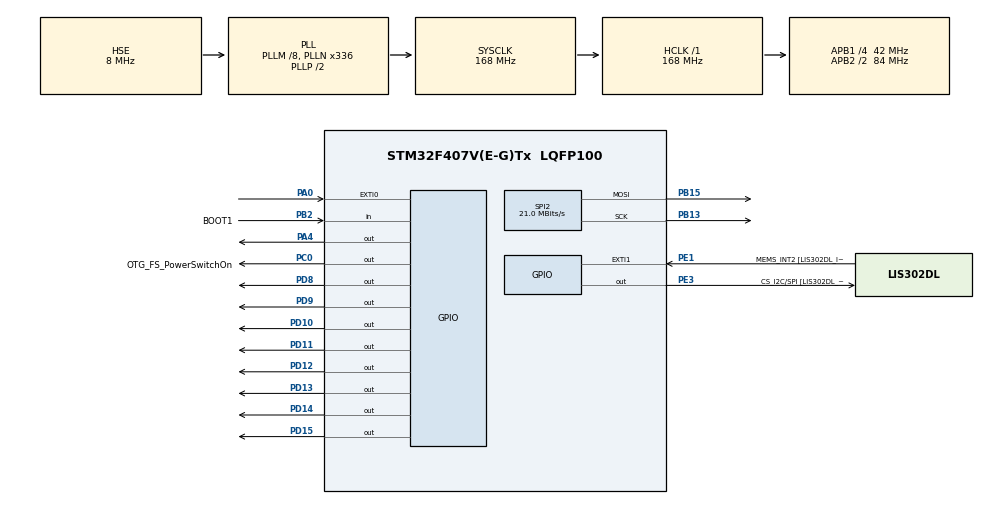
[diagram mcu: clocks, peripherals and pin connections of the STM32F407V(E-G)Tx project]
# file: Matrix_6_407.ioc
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Mcu.Family=STM32F4
Mcu.Name=STM32F407V(E-G)Tx
Mcu.Package=LQFP100
NVIC.EXTI0_IRQn=true\:1\:0\:true
NVIC.PriorityGroup=NVIC_PRIORITYGROUP_4
NVIC.TIM1_BRK_TIM9_IRQn=true\:1\:0\:true
NVIC.TIM1_TRG_COM_TIM11_IRQn=true\:2\:0\:true
NVIC.TIM1_UP_TIM10_IRQn=true\:3\:0\:true
PA0-WKUP.GPIO_ModeDefaultEXTI=GPIO_MODE_IT_RISING
PA0-WKUP.GPIO_PuPd=GPIO_NOPULL
PA0-WKUP.Signal=GPXTI0
PA10.GPIO_Label=OTG_FS_ID
PA10.GPIO_Mode=GPIO_MODE_AF_PP
PA10.GPIO_PuPd=GPIO_NOPULL
PA10.GPIO_Speed=GPIO_SPEED_LOW
PA10.Signal=USB_OTG_FS_ID
PA11.GPIO_Label=OTG_FS_DM
PA11.GPIO_Mode=GPIO_MODE_AF_PP
PA11.GPIO_PuPd=GPIO_NOPULL
PA11.GPIO_Speed=GPIO_SPEED_LOW
PA11.Signal=USB_OTG_FS_DM
PA12.GPIO_Label=OTG_FS_DP
PA12.GPIO_Mode=GPIO_MODE_AF_PP
PA12.GPIO_PuPd=GPIO_NOPULL
PA12.GPIO_Speed=GPIO_SPEED_LOW
PA12.Signal=USB_OTG_FS_DP
PA13.GPIO_Label=SWDIO
PA13.Mode=Trace-Asynchronous_SW
PA13.Signal=SYS_JTMS-SWDIO
PA14.GPIO_Label=SWCLK
PA14.Mode=Trace-Asynchronous_SW
PA14.Signal=SYS_JTCK-SWCLK
PA4.Signal=GPIO_Output
PA6.Signal=SPI1_MISO
PA7.Signal=SPI1_MOSI
PA9.GPIO_Label=VBUS_FS
PA9.GPIO_Mode=GPIO_MODE_INPUT
PA9.GPIO_PuPd=GPIO_NOPULL
PA9.Signal=USB_OTG_FS_VBUS
PB10.GPIO_Label=CLK_IN [MP45DT02_CLK]
PB10.GPIO_Mode=GPIO_MODE_AF_PP
PB10.GPIO_PuPd=GPIO_NOPULL
PB10.GPIO_Speed=GPIO_SPEED_LOW
PB10.Signal=I2S2_CK
PB13.Mode=TX_Only_Simplex_Unidirect_Master
PB13.Signal=SPI2_SCK
PB15.Mode=TX_Only_Simplex_Unidirect_Master
PB15.Signal=SPI2_MOSI
PB2.GPIO_Label=BOOT1
PB2.GPIO_Mode=GPIO_MODE_INPUT
PB2.GPIO_PuPd=GPIO_NOPULL
PB2.Signal=GPIO_Input
PB3.GPIO_Label=SWO
PB3.Mode=Trace-Asynchronous_SW
PB3.Signal=SYS_JTDO-SWO
PB6.GPIO_Label=Audio_SCL [CS43L22_SCL]
PB6.GPIO_Mode=GPIO_MODE_AF_OD
PB6.GPIO_PuPd=GPIO_NOPULL
PB6.GPIO_PuPdOD=GPIO_PULLUP
PB6.GPIO_Speed=GPIO_SPEED_LOW
PB6.Signal=I2C1_SCL
PB9.GPIO_Label=Audio_SDA [CS43L22_SDA]
PB9.GPIO_Mode=GPIO_MODE_AF_OD
PB9.GPIO_PuPd=GPIO_NOPULL
PB9.GPIO_PuPdOD=GPIO_PULLUP
PB9.GPIO_Speed=GPIO_SPEED_LOW
PB9.Signal=I2C1_SDA
PC0.GPIO_Label=OTG_FS_PowerSwitchOn
PC0.GPIO_ModeDefaultOutputPP=GPIO_MODE_OUTPUT_PP
PC0.GPIO_PuPd=GPIO_NOPULL
PC0.GPIO_Speed=GPIO_SPEED_LOW
PC0.Signal=GPIO_Output
PC10.GPIO_Label=I2S3_SCK [CS43L22_SCLK]
PC10.GPIO_Mode=GPIO_MODE_AF_PP
PC10.GPIO_PuPd=GPIO_NOPULL
PC10.GPIO_Speed=GPIO_SPEED_LOW
PC10.Signal=I2S3_CK
PC12.GPIO_Label=I2S3_SD [CS43L22_SDIN]
PC12.GPIO_Mode=GPIO_MODE_AF_PP
PC12.GPIO_PuPd=GPIO_NOPULL
PC12.GPIO_Speed=GPIO_SPEED_LOW
PC12.Signal=I2S3_SD
PC14-OSC32_IN.GPIO_Label=PC14-OSC32_IN
PC14-OSC32_IN.Signal=RCC_OSC32_IN
PC15-OSC32_OUT.GPIO_Label=PC15-OSC32_OUT
PC15-OSC32_OUT.Signal=RCC_OSC32_OUT
PC3.GPIO_Label=PDM_OUT [MP45DT02_DOUT]
PC3.GPIO_Mode=GPIO_MODE_AF_PP
PC3.GPIO_PuPd=GPIO_NOPULL
PC3.GPIO_Speed=GPIO_SPEED_LOW
PC3.Signal=I2S2_SD
PC7.GPIO_Label=I2S3_MCK [CS43L22_MCLK]
PC7.GPIO_Mode=GPIO_MODE_AF_PP
PC7.GPIO_PuPd=GPIO_NOPULL
PC7.GPIO_Speed=GPIO_SPEED_LOW
PC7.Signal=I2S3_MCK
PD10.Signal=GPIO_Output
PD11.Signal=GPIO_Output
PD12.Signal=GPIO_Output
PD13.Signal=GPIO_Output
PD14.Signal=GPIO_Output
PD15.Signal=GPIO_Output
PD8.Signal=GPIO_Output
PD9.Signal=GPIO_Output
PE1.GPIO_Label=MEMS_INT2 [LIS302DL_INT2]
PE1.GPIO_ModeDefaultEXTI=GPIO_MODE_EVT_RISING
PE1.GPIO_PuPd=GPIO_NOPULL
PE1.Signal=GPXTI1
PE3.GPIO_Label=CS_I2C/SPI [LIS302DL_CS_I2C/SPI]
PE3.GPIO_ModeDefaultOutputPP=GPIO_MODE_OUTPUT_PP
PE3.GPIO_PuPd=GPIO_NOPULL
PE3.GPIO_Speed=GPIO_SPEED_LOW
PE3.Signal=GPIO_Output
PH0-OSC_IN.GPIO_Label=PH0-OSC_IN
PH0-OSC_IN.Mode=HSE-External-Oscillator
PH0-OSC_IN.Signal=RCC_OSC_IN
PH1-OSC_OUT.GPIO_Label=PH1-OSC_OUT
PH1-OSC_OUT.Mode=HSE-External-Oscillator
PH1-OSC_OUT.Signal=RCC_OSC_OUT
ProjectManager.TargetToolchain=EWARM 6.70
RCC.48MHZClocksFreq_Value=48000000
RCC.AHBFreq_Value=168000000
RCC.APB1CLKDivider=RCC_HCLK_DIV4
RCC.APB1Freq_Value=42000000
RCC.APB1TimFreq_Value=84000000
RCC.APB2CLKDivider=RCC_HCLK_DIV2
RCC.APB2Freq_Value=84000000
RCC.APB2TimFreq_Value=168000000
RCC.CortexFreq_Value=21000000
RCC.HCLKFreq_Value=168000000
RCC.HSE_VALUE=8000000
RCC.HSI_VALUE=16000000
RCC.LSE_VALUE=32768
RCC.PLLM=8
RCC.PLLN=336
RCC.PLLQ=7
RCC.PLLSource=RCC_PLLSOURCE_HSE
RCC.PLLSourceVirtual=RCC_PLLSOURCE_HSE
RCC.PLLSourceVirtualString=RCC_PLLSOURCE_HSE
RCC.SYSCLKFreq_VALUE=168000000
RCC.SYSCLKSource=RCC_SYSCLKSOURCE_PLLCLK
RCC.VCOOutputFreq_Value=336000000
SPI2.CalculateBaudRate=21.0 MBits/s
SPI2.Mode=SPI_MODE_MASTER
TIM10.Period=17500
TIM10.Prescaler=2
TIM11.Period=60000
TIM11.Prescaler=200
TIM9.Period=20000
TIM9.Prescaler=16800
VP_TIM10_VS_ClockSourceINT.Mode=Enable_Timer
VP_TIM11_VS_ClockSourceINT.Mode=Enable_Timer
VP_TIM9_VS_ClockSourceINT.Mode=Internal

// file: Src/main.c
/**
  ******************************************************************************
  * File Name          : main.c
  * Date               : 25/03/2015 07:48:25
  * Description        : Main program body
  ******************************************************************************
  *
  * COPYRIGHT(c) 2015 STMicroelectronics
  *
  * Redistribution and use in source and binary forms, with or without modification,
  * are permitted provided that the following conditions are met:
  *   1. Redistributions of source code must retain the above copyright notice,
  *      this list of conditions and the following disclaimer.
  *   2. Redistributions in binary form must reproduce the above copyright notice,
  *      this list of conditions and the following disclaimer in the documentation
  *      and/or other materials provided with the distribution.
  *   3. Neither the name of STMicroelectronics nor the names of its contributors
  *      may be used to endorse or promote products derived from this software
  *      without specific prior written permission.
  *
  * THIS SOFTWARE IS PROVIDED BY THE COPYRIGHT HOLDERS AND CONTRIBUTORS "AS IS"
  * AND ANY EXPRESS OR IMPLIED WARRANTIES, INCLUDING, BUT NOT LIMITED TO, THE
  * IMPLIED WARRANTIES OF MERCHANTABILITY AND FITNESS FOR A PARTICULAR PURPOSE ARE
  * DISCLAIMED. IN NO EVENT SHALL THE COPYRIGHT HOLDER OR CONTRIBUTORS BE LIABLE
  * FOR ANY DIRECT, INDIRECT, INCIDENTAL, SPECIAL, EXEMPLARY, OR CONSEQUENTIAL
  * DAMAGES (INCLUDING, BUT NOT LIMITED TO, PROCUREMENT OF SUBSTITUTE GOODS OR
  * SERVICES; LOSS OF USE, DATA, OR PROFITS; OR BUSINESS INTERRUPTION) HOWEVER
  * CAUSED AND ON ANY THEORY OF LIABILITY, WHETHER IN CONTRACT, STRICT LIABILITY,
  * OR TORT (INCLUDING NEGLIGENCE OR OTHERWISE) ARISING IN ANY WAY OUT OF THE USE
  * OF THIS SOFTWARE, EVEN IF ADVISED OF THE POSSIBILITY OF SUCH DAMAGE.
  *
  ******************************************************************************
  */

#include "stm32f4xx_hal.h"

/* USER CODE BEGIN Includes */
#include "CHARS.h"
/* USER CODE END Includes */

SPI_HandleTypeDef hspi2;
TIM_HandleTypeDef htim9;
TIM_HandleTypeDef htim10;
TIM_HandleTypeDef htim11;

/* USER CODE BEGIN PV */
typedef enum {          //Обьеденение состояний Автомата Состояния
  FIRST_INIT,           //Стартовый флаг
  NEXT_LINE,            //состояние змения линии, флаг для семены отобрадения лини
  NEXT_DOT,             //Состояние изменения матрицы вывода (исп для динамического отрисовки буквы)
  CHANGE_LETTER,        //Состояние для изменения буквы в промежуточном буфере матрицы
  CHANGE_COLOUR         //Состояние изменения цвета
} state_t;

state_t state = FIRST_INIT; //Переменная состояния

typedef enum {          //Обьеденение состояния светодиода
  ON,                   //Включен
  OFF                   //Выключен
} dot_t;

typedef enum {          //Обьеденение Цветa
  GREEN,                //Зеленый
  RED,                  //Красный
  BLUE,                 //Синий
  YELLOW,               //Желтый (зеленый + красный)
  MAGENTA,              //Розовый (синий + красный)
  CYAN,                 //Голубой (зеленый + синий)
  WHITE                 //Белый (Синий + зеленый + красный)
} colour_t;

struct dot{             //Структура светодиода(точки)
  char x;               //Положение по горизонтале в матрице
  char y;               //Положение по вертикале в матрице
  dot_t dot_state;      //Состояние светодиода
  colour_t colour;      //Цвет светодиода
 };

uint64_t data_An = 1;
char data_Gr[8];
char data_Rd[8];
char data_Bl[8];
char char_Play[30][2];
uint8_t pData[24];
char bufferData [8][4];

/* USER CODE END PV */

void SystemClock_Config(void);
static void MX_GPIO_Init(void);
static void MX_SPI2_Init(void);
static void MX_TIM9_Init(void);
static void MX_TIM10_Init(void);
static void MX_TIM11_Init(void);

/* USER CODE BEGIN PFP */

/*Инициализация функции формирования посылки*/
void create_pData(int cntLn)
{
  pData[0] = (uint8_t)~(data_An >> 40);
  pData[1] = bufferData[cntLn][1];
  pData[2] = bufferData[cntLn][2];
  pData[3] = bufferData[cntLn][3];
  pData[4] = (uint8_t)~(data_An >> 32);
  pData[5] = bufferData[cntLn][1];
  pData[6] = bufferData[cntLn][2];
  pData[7] = bufferData[cntLn][3];
  pData[8] = (uint8_t)~(data_An >> 24);
  pData[9] = bufferData[cntLn][1];
  pData[10] = bufferData[cntLn][2];
  pData[11] = bufferData[cntLn][3];
  pData[12] = (uint8_t)~(data_An >> 16);
  pData[13] = bufferData[cntLn][1];
  pData[14] = bufferData[cntLn][2];
  pData[15] = bufferData[cntLn][3];
  pData[16] = (uint8_t)~(data_An >> 8);
  pData[17] = bufferData[cntLn][1];
  pData[18] = bufferData[cntLn][2];
  pData[19] = bufferData[cntLn][3];
  pData[20] = (uint8_t)~(data_An);
  pData[21] = bufferData[cntLn][1];
  pData[22] = bufferData[cntLn][2];
  pData[23] = bufferData[cntLn][3];
}

/*Инициализация функции формирования масива изображения*/
void create_bufferData(char cnt_An)
{
  if (cnt_An == 0)
  {
    data_An = data_An;
  }
  else
    data_An *= 2;
  for (int j=0; j <=7 ; j++)
  {
    bufferData[j][1] = data_Gr[j];
    bufferData[j][2] = data_Rd[j];
    bufferData[j][3] = data_Bl[j];
  }
 }

/*Инициализация функции отправки данных*/
void send_Data(int cntLn, char cnt_An)
{
   HAL_GPIO_WritePin(GPIOD, GPIO_PIN_8,GPIO_PIN_SET);
  create_bufferData(cnt_An);
  create_pData(cntLn);
  HAL_GPIO_WritePin(GPIOD, GPIO_PIN_8,GPIO_PIN_RESET);
  HAL_SPI_Transmit(&hspi2, pData, 24, 1);
  HAL_GPIO_WritePin(GPIOD, GPIO_PIN_9,GPIO_PIN_SET);
  HAL_GPIO_WritePin(GPIOD, GPIO_PIN_9,GPIO_PIN_RESET);

 }

/*Инициализация функции очистки изображения*/
void zero_matrix(void)
{
  for (int i=0; i<=7; i++)
  {
  data_Gr[i] = 0xFF;
  data_Rd[i] = 0xFF;
  data_Bl[i] = 0xFF;
  }
}

/*Инициализация функци отрисовки буквы нужного цвета*/
void writte_Char(int colour, int cntCh)
{
switch(colour)
    {
    case GREEN:
      {
        data_Gr[char_Play[cntCh+1][0]] = char_Play[cntCh+1][1];
        break;
      }
    case RED:
      {
        data_Rd[char_Play[cntCh+1][0]] = char_Play[cntCh+1][1];
        break;
      }
    case BLUE:
      {
        data_Bl[char_Play[cntCh+1][0]] = char_Play[cntCh+1][1];
        break;
      }
    case YELLOW:
      {
        data_Gr[char_Play[cntCh+1][0]] = char_Play[cntCh+1][1];
        data_Rd[char_Play[cntCh+1][0]] = char_Play[cntCh+1][1];
        break;
      }
    case MAGENTA:
      {
        data_Rd[char_Play[cntCh+1][0]] = char_Play[cntCh+1][1];
        data_Bl[char_Play[cntCh+1][0]] = char_Play[cntCh+1][1];
        break;
      }
    case CYAN:
      {
        data_Gr[char_Play[cntCh+1][0]] = char_Play[cntCh+1][1];
        data_Bl[char_Play[cntCh+1][0]] = char_Play[cntCh+1][1];
        break;
      }
    case WHITE:
      {
        data_Gr[char_Play[cntCh+1][0]] = char_Play[cntCh+1][1];
        data_Bl[char_Play[cntCh+1][0]] = char_Play[cntCh+1][1];
        data_Rd[char_Play[cntCh+1][0]] = char_Play[cntCh+1][1];
        break;
      }
    default:
      zero_matrix();
    }
  }

/*Инициализация функции присвоения масиву вывода выбранной буквы*/
void set_Char (char *letter, int i, int j)
{
  for (int k = 0; k < j; k++)
  {
    for (int z = 0; z < i; z++)
    {
      char_Play[k][z] = letter[(i*k)+z];
    }
  }
}

/*????Инициализация функции изменения цвета*/
/*void changecolour(int cntC)
{
  switch(cntC)
  {
  case 0:
    {
      setcolour = GREEN;
      break;
    }
  case 1:
    {
      setcolour = RED;
      break;
    }
  case 2:
    {
      setcolour = BLUE;
      break;
    }
  case 3:
    {
      setcolour = YELLOW;
      break;
    }
  case 4:
    {
      setcolour = MAGENTA;
      break;
    }
  case 5:
    {
      setcolour = CYAN;
      break;
    }
  case 6:
    {
      setcolour = WHITE;
      break;
    }
  default:
    __NOP();
  }
}*/
/* USER CODE END PFP */

int main(void)
{

  /* MCU Configuration----------------------------------------------------------*/

  /* Reset of all peripherals, Initializes the Flash interface and the Systick. */
  HAL_Init();

  /* Configure the system clock */
  SystemClock_Config();

  /* Initialize all configured peripherals */
  MX_GPIO_Init();
  MX_SPI2_Init();
  MX_TIM9_Init();
  MX_TIM10_Init();
  MX_TIM11_Init();

  /* USER CODE BEGIN 2 */
  HAL_TIM_Base_Start_IT(&htim9);
  HAL_TIM_Base_Start_IT(&htim10);
  HAL_TIM_Base_Start_IT(&htim11);
  /* USER CODE END 2 */

  while (1)
  {
  }

}

/** System Clock Configuration
*/
void SystemClock_Config(void)
{

  RCC_OscInitTypeDef RCC_OscInitStruct;
  RCC_ClkInitTypeDef RCC_ClkInitStruct;

  __PWR_CLK_ENABLE();

  __HAL_PWR_VOLTAGESCALING_CONFIG(PWR_REGULATOR_VOLTAGE_SCALE1);

  RCC_OscInitStruct.OscillatorType = RCC_OSCILLATORTYPE_HSE;
  RCC_OscInitStruct.HSEState = RCC_HSE_ON;
  RCC_OscInitStruct.PLL.PLLState = RCC_PLL_ON;
  RCC_OscInitStruct.PLL.PLLSource = RCC_PLLSOURCE_HSE;
  RCC_OscInitStruct.PLL.PLLM = 8;
  RCC_OscInitStruct.PLL.PLLN = 336;
  RCC_OscInitStruct.PLL.PLLP = RCC_PLLP_DIV2;
  RCC_OscInitStruct.PLL.PLLQ = 7;
  HAL_RCC_OscConfig(&RCC_OscInitStruct);

  RCC_ClkInitStruct.ClockType = RCC_CLOCKTYPE_SYSCLK|RCC_CLOCKTYPE_PCLK1
                              |RCC_CLOCKTYPE_PCLK2;
  RCC_ClkInitStruct.SYSCLKSource = RCC_SYSCLKSOURCE_PLLCLK;
  RCC_ClkInitStruct.AHBCLKDivider = RCC_SYSCLK_DIV1;
  RCC_ClkInitStruct.APB1CLKDivider = RCC_HCLK_DIV4;
  RCC_ClkInitStruct.APB2CLKDivider = RCC_HCLK_DIV2;
  HAL_RCC_ClockConfig(&RCC_ClkInitStruct, FLASH_LATENCY_5);

}

/* SPI2 init function */
void MX_SPI2_Init(void)
{

  hspi2.Instance = SPI2;
  hspi2.Init.Mode = SPI_MODE_MASTER;
  hspi2.Init.Direction = SPI_DIRECTION_2LINES;
  hspi2.Init.DataSize = SPI_DATASIZE_8BIT;
  hspi2.Init.CLKPolarity = SPI_POLARITY_LOW;
  hspi2.Init.CLKPhase = SPI_PHASE_1EDGE;
  hspi2.Init.NSS = SPI_NSS_SOFT;
  hspi2.Init.BaudRatePrescaler = SPI_BAUDRATEPRESCALER_4;
  hspi2.Init.FirstBit = SPI_FIRSTBIT_LSB;
  hspi2.Init.TIMode = SPI_TIMODE_DISABLED;
  hspi2.Init.CRCCalculation = SPI_CRCCALCULATION_DISABLED;
  HAL_SPI_Init(&hspi2);

}

/* TIM9 init function */
void MX_TIM9_Init(void)
{

  TIM_ClockConfigTypeDef sClockSourceConfig;

  htim9.Instance = TIM9;
  htim9.Init.Prescaler = 16800;
  htim9.Init.CounterMode = TIM_COUNTERMODE_UP;
  htim9.Init.Period = 20000;
  htim9.Init.ClockDivision = TIM_CLOCKDIVISION_DIV1;
  HAL_TIM_Base_Init(&htim9);

  sClockSourceConfig.ClockSource = TIM_CLOCKSOURCE_INTERNAL;
  HAL_TIM_ConfigClockSource(&htim9, &sClockSourceConfig);

}

/* TIM10 init function */
void MX_TIM10_Init(void)
{

  htim10.Instance = TIM10;
  htim10.Init.Prescaler = 2;
  htim10.Init.CounterMode = TIM_COUNTERMODE_UP;
  htim10.Init.Period = 17500;
  htim10.Init.ClockDivision = TIM_CLOCKDIVISION_DIV1;
  HAL_TIM_Base_Init(&htim10);

}

/* TIM11 init function */
void MX_TIM11_Init(void)
{

  htim11.Instance = TIM11;
  htim11.Init.Prescaler = 200;
  htim11.Init.CounterMode = TIM_COUNTERMODE_UP;
  htim11.Init.Period = 60000;
  htim11.Init.ClockDivision = TIM_CLOCKDIVISION_DIV1;
  HAL_TIM_Base_Init(&htim11);

}

/** Configure pins as
        * Analog
        * Input
        * Output
        * EVENT_OUT
        * EXTI
     PC3   ------> I2S2_SD
     PA6   ------> SPI1_MISO
     PA7   ------> SPI1_MOSI
     PB10   ------> I2S2_CK
     PC7   ------> I2S3_MCK
     PA9   ------> USB_OTG_FS_VBUS
     PA10   ------> USB_OTG_FS_ID
     PA11   ------> USB_OTG_FS_DM
     PA12   ------> USB_OTG_FS_DP
     PC10   ------> I2S3_CK
     PC12   ------> I2S3_SD
     PB6   ------> I2C1_SCL
     PB9   ------> I2C1_SDA
*/
void MX_GPIO_Init(void)
{

  GPIO_InitTypeDef GPIO_InitStruct;

  /* GPIO Ports Clock Enable */
  __GPIOE_CLK_ENABLE();
  __GPIOC_CLK_ENABLE();
  __GPIOH_CLK_ENABLE();
  __GPIOA_CLK_ENABLE();
  __GPIOB_CLK_ENABLE();
  __GPIOD_CLK_ENABLE();

  /*Configure GPIO pin : PE3 */
  GPIO_InitStruct.Pin = GPIO_PIN_3;
  GPIO_InitStruct.Mode = GPIO_MODE_OUTPUT_PP;
  GPIO_InitStruct.Pull = GPIO_NOPULL;
  GPIO_InitStruct.Speed = GPIO_SPEED_LOW;
  HAL_GPIO_Init(GPIOE, &GPIO_InitStruct);

  /*Configure GPIO pin : PC0 */
  GPIO_InitStruct.Pin = GPIO_PIN_0;
  GPIO_InitStruct.Mode = GPIO_MODE_OUTPUT_PP;
  GPIO_InitStruct.Pull = GPIO_NOPULL;
  GPIO_InitStruct.Speed = GPIO_SPEED_LOW;
  HAL_GPIO_Init(GPIOC, &GPIO_InitStruct);

  /*Configure GPIO pin : PC3 */
  GPIO_InitStruct.Pin = GPIO_PIN_3;
  GPIO_InitStruct.Mode = GPIO_MODE_AF_PP;
  GPIO_InitStruct.Pull = GPIO_NOPULL;
  GPIO_InitStruct.Speed = GPIO_SPEED_LOW;
  GPIO_InitStruct.Alternate = GPIO_AF5_SPI2;
  HAL_GPIO_Init(GPIOC, &GPIO_InitStruct);

  /*Configure GPIO pin : PA0 */
  GPIO_InitStruct.Pin = GPIO_PIN_0;
  GPIO_InitStruct.Mode = GPIO_MODE_IT_RISING;
  GPIO_InitStruct.Pull = GPIO_NOPULL;
  HAL_GPIO_Init(GPIOA, &GPIO_InitStruct);

  /*Configure GPIO pin : PA4 */
  GPIO_InitStruct.Pin = GPIO_PIN_4;
  GPIO_InitStruct.Mode = GPIO_MODE_OUTPUT_PP;
  GPIO_InitStruct.Pull = GPIO_NOPULL;
  GPIO_InitStruct.Speed = GPIO_SPEED_LOW;
  HAL_GPIO_Init(GPIOA, &GPIO_InitStruct);

  /*Configure GPIO pins : PA6 PA7 */
  GPIO_InitStruct.Pin = GPIO_PIN_6|GPIO_PIN_7;
  GPIO_InitStruct.Mode = GPIO_MODE_AF_PP;
  GPIO_InitStruct.Pull = GPIO_NOPULL;
  GPIO_InitStruct.Speed = GPIO_SPEED_LOW;
  GPIO_InitStruct.Alternate = GPIO_AF5_SPI1;
  HAL_GPIO_Init(GPIOA, &GPIO_InitStruct);

  /*Configure GPIO pin : PB2 */
  GPIO_InitStruct.Pin = GPIO_PIN_2;
  GPIO_InitStruct.Mode = GPIO_MODE_INPUT;
  GPIO_InitStruct.Pull = GPIO_NOPULL;
  HAL_GPIO_Init(GPIOB, &GPIO_InitStruct);

  /*Configure GPIO pin : PB10 */
  GPIO_InitStruct.Pin = GPIO_PIN_10;
  GPIO_InitStruct.Mode = GPIO_MODE_AF_PP;
  GPIO_InitStruct.Pull = GPIO_NOPULL;
  GPIO_InitStruct.Speed = GPIO_SPEED_LOW;
  GPIO_InitStruct.Alternate = GPIO_AF5_SPI2;
  HAL_GPIO_Init(GPIOB, &GPIO_InitStruct);

  /*Configure GPIO pins : PD8 PD9 PD10 PD11
                           PD12 PD13 PD14 PD15 */
  GPIO_InitStruct.Pin = GPIO_PIN_8|GPIO_PIN_9|GPIO_PIN_10|GPIO_PIN_11
                          |GPIO_PIN_12|GPIO_PIN_13|GPIO_PIN_14|GPIO_PIN_15;
  GPIO_InitStruct.Mode = GPIO_MODE_OUTPUT_PP;
  GPIO_InitStruct.Pull = GPIO_NOPULL;
  GPIO_InitStruct.Speed = GPIO_SPEED_LOW;
  HAL_GPIO_Init(GPIOD, &GPIO_InitStruct);

  /*Configure GPIO pins : PC7 PC10 PC12 */
  GPIO_InitStruct.Pin = GPIO_PIN_7|GPIO_PIN_10|GPIO_PIN_12;
  GPIO_InitStruct.Mode = GPIO_MODE_AF_PP;
  GPIO_InitStruct.Pull = GPIO_NOPULL;
  GPIO_InitStruct.Speed = GPIO_SPEED_LOW;
  GPIO_InitStruct.Alternate = GPIO_AF6_SPI3;
  HAL_GPIO_Init(GPIOC, &GPIO_InitStruct);

  /*Configure GPIO pin : PA9 */
  GPIO_InitStruct.Pin = GPIO_PIN_9;
  GPIO_InitStruct.Mode = GPIO_MODE_INPUT;
  GPIO_InitStruct.Pull = GPIO_NOPULL;
  HAL_GPIO_Init(GPIOA, &GPIO_InitStruct);

  /*Configure GPIO pins : PA10 PA11 PA12 */
  GPIO_InitStruct.Pin = GPIO_PIN_10|GPIO_PIN_11|GPIO_PIN_12;
  GPIO_InitStruct.Mode = GPIO_MODE_AF_PP;
  GPIO_InitStruct.Pull = GPIO_NOPULL;
  GPIO_InitStruct.Speed = GPIO_SPEED_LOW;
  GPIO_InitStruct.Alternate = GPIO_AF10_OTG_FS;
  HAL_GPIO_Init(GPIOA, &GPIO_InitStruct);

  /*Configure GPIO pins : PB6 PB9 */
  GPIO_InitStruct.Pin = GPIO_PIN_6|GPIO_PIN_9;
  GPIO_InitStruct.Mode = GPIO_MODE_AF_OD;
  GPIO_InitStruct.Pull = GPIO_PULLUP;
  GPIO_InitStruct.Speed = GPIO_SPEED_LOW;
  GPIO_InitStruct.Alternate = GPIO_AF4_I2C1;
  HAL_GPIO_Init(GPIOB, &GPIO_InitStruct);

  /*Configure GPIO pin : PE1 */
  GPIO_InitStruct.Pin = GPIO_PIN_1;
  GPIO_InitStruct.Mode = GPIO_MODE_EVT_RISING;
  GPIO_InitStruct.Pull = GPIO_NOPULL;
  HAL_GPIO_Init(GPIOE, &GPIO_InitStruct);

  /* EXTI interrupt init*/
  HAL_NVIC_SetPriority(EXTI0_IRQn, 1, 0);
  HAL_NVIC_EnableIRQ(EXTI0_IRQn);

}

/* USER CODE BEGIN 4 */
int counterChanges = 0;
int countLine = 7;
int counterLetters = 0;
int setcolour = 0;
int counter_An = 0;

void HAL_TIM_PeriodElapsedCallback(TIM_HandleTypeDef *htim)
{
  if (htim == &htim10)
  {
    if (countLine < 0)
    {
      countLine=7;
    }
    if (counter_An > 47)
    {
    counter_An = 0;
    data_An = 1;
    }
    send_Data(countLine, counter_An);
    countLine--;
    counter_An ++;
  }
  else if (htim == &htim11)
  {
    /*char *y = lEtters[counterLetters-1];*/
    if (setcolour >= 7)
  {
    setcolour = 0;
  }
    if(counterChanges > (((char_Play[0][1])-1)+24))
    {
        zero_matrix();
        counterChanges = 0;
    }
    if (counterChanges < ((char_Play[0][1])-1))
    {
      writte_Char(setcolour, counterChanges);
    }
      counterChanges++;
  }
  else if (htim == &htim9)
  {
    if (counterLetters == 26) /*26 - количесвто елементов в масиве букв*/
    {
      counterLetters = 0;
    }
    char *p = lEtters[counterLetters];
    set_Char(p, (int)p[0], (int)p[1]);
    zero_matrix();
    setcolour++;
    counterChanges = 0;
    counterLetters++;

  }
}

void HAL_GPIO_EXTI_Callback(uint16_t GPIO_Pin0)
{

}

/* USER CODE END 4 */

/************************ (C) COPYRIGHT STMicroelectronics *****END OF FILE****/
